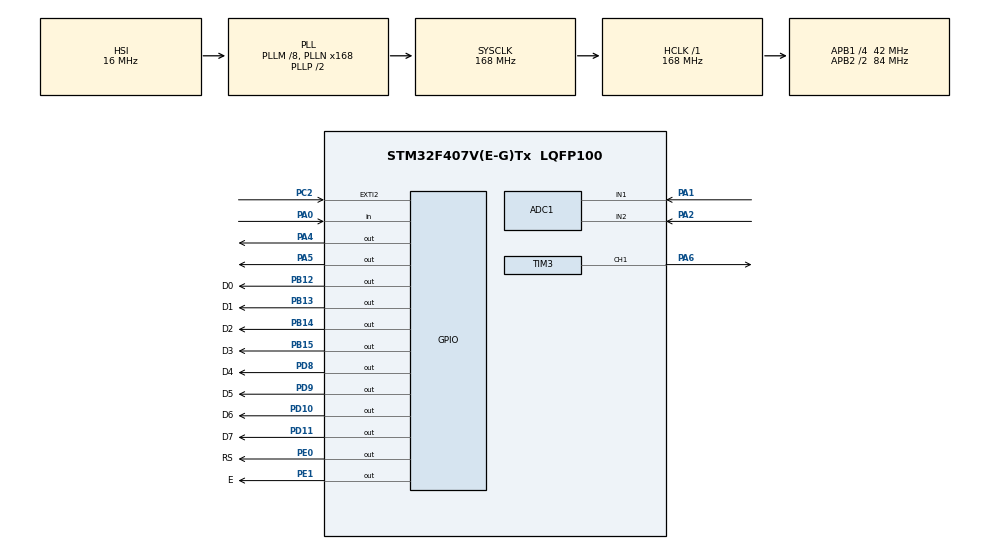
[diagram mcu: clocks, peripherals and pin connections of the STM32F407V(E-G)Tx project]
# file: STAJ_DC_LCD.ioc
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ADC1.Channel-0\#ChannelRegularConversion=ADC_CHANNEL_1
ADC1.NbrOfConversionFlag=1
ADC1.Rank-0\#ChannelRegularConversion=1
ADC1.SamplingTime-0\#ChannelRegularConversion=ADC_SAMPLETIME_84CYCLES
ADC1.master=1
Mcu.Family=STM32F4
Mcu.Name=STM32F407V(E-G)Tx
Mcu.Package=LQFP100
NVIC.ADC_IRQn=true\:0\:0\:false\:false\:true\:true
NVIC.EXTI2_IRQn=true\:0\:0\:false\:false\:true\:true
NVIC.PriorityGroup=NVIC_PRIORITYGROUP_4
PA0-WKUP.Signal=GPIO_Input
PA1.Signal=ADCx_IN1
PA2.Signal=ADCx_IN2
PA4.Signal=GPIO_Output
PA5.Signal=GPIO_Output
PA6.Signal=S_TIM3_CH1
PB12.GPIO_Label=D0
PB12.Signal=GPIO_Output
PB13.GPIO_Label=D1
PB13.Signal=GPIO_Output
PB14.GPIO_Label=D2
PB14.Signal=GPIO_Output
PB15.GPIO_Label=D3
PB15.Signal=GPIO_Output
PC2.Signal=GPXTI2
PD10.GPIO_Label=D6
PD10.Signal=GPIO_Output
PD11.GPIO_Label=D7
PD11.Signal=GPIO_Output
PD8.GPIO_Label=D4
PD8.Signal=GPIO_Output
PD9.GPIO_Label=D5
PD9.Signal=GPIO_Output
PE0.GPIO_Label=RS
PE0.Signal=GPIO_Output
PE1.GPIO_Label=E
PE1.Signal=GPIO_Output
ProjectManager.HeapSize=0x200
ProjectManager.StackSize=0x400
ProjectManager.TargetToolchain=MDK-ARM V5
RCC.48MHZClocksFreq_Value=84000000
RCC.AHBFreq_Value=168000000
RCC.APB1CLKDivider=RCC_HCLK_DIV4
RCC.APB1Freq_Value=42000000
RCC.APB1TimFreq_Value=84000000
RCC.APB2CLKDivider=RCC_HCLK_DIV2
RCC.APB2Freq_Value=84000000
RCC.APB2TimFreq_Value=168000000
RCC.CortexFreq_Value=168000000
RCC.HCLKFreq_Value=168000000
RCC.HSE_VALUE=25000000
RCC.HSI_VALUE=16000000
RCC.LSE_VALUE=32768
RCC.PLLM=8
RCC.PLLN=168
RCC.SYSCLKFreq_VALUE=168000000
RCC.SYSCLKSource=RCC_SYSCLKSOURCE_PLLCLK
RCC.VCOOutputFreq_Value=336000000
SH.ADCx_IN1.0=ADC1_IN1,IN1
SH.ADCx_IN2.0=ADC1_IN2,IN2
SH.S_TIM3_CH1.0=TIM3_CH1,PWM Generation1 CH1
TIM3.Channel-PWM\ Generation1\ CH1=TIM_CHANNEL_1
TIM3.Period=99
TIM3.Prescaler=15999
TIM3.Pulse-PWM\ Generation1\ CH1=100
board=custom

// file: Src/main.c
/* USER CODE BEGIN Header */
/**
  ******************************************************************************
  * @file           : main.c
  * @brief          : Main program body
  ******************************************************************************
  ** This notice applies to any and all portions of this file
  * that are not between comment pairs USER CODE BEGIN and
  * USER CODE END. Other portions of this file, whether
  * inserted by the user or by software development tools
  * are owned by their respective copyright owners.
  *
  * COPYRIGHT(c) 2019 STMicroelectronics
  *
  * Redistribution and use in source and binary forms, with or without modification,
  * are permitted provided that the following conditions are met:
  *   1. Redistributions of source code must retain the above copyright notice,
  *      this list of conditions and the following disclaimer.
  *   2. Redistributions in binary form must reproduce the above copyright notice,
  *      this list of conditions and the following disclaimer in the documentation
  *      and/or other materials provided with the distribution.
  *   3. Neither the name of STMicroelectronics nor the names of its contributors
  *      may be used to endorse or promote products derived from this software
  *      without specific prior written permission.
  *
  * THIS SOFTWARE IS PROVIDED BY THE COPYRIGHT HOLDERS AND CONTRIBUTORS "AS IS"
  * AND ANY EXPRESS OR IMPLIED WARRANTIES, INCLUDING, BUT NOT LIMITED TO, THE
  * IMPLIED WARRANTIES OF MERCHANTABILITY AND FITNESS FOR A PARTICULAR PURPOSE ARE
  * DISCLAIMED. IN NO EVENT SHALL THE COPYRIGHT HOLDER OR CONTRIBUTORS BE LIABLE
  * FOR ANY DIRECT, INDIRECT, INCIDENTAL, SPECIAL, EXEMPLARY, OR CONSEQUENTIAL
  * DAMAGES (INCLUDING, BUT NOT LIMITED TO, PROCUREMENT OF SUBSTITUTE GOODS OR
  * SERVICES; LOSS OF USE, DATA, OR PROFITS; OR BUSINESS INTERRUPTION) HOWEVER
  * CAUSED AND ON ANY THEORY OF LIABILITY, WHETHER IN CONTRACT, STRICT LIABILITY,
  * OR TORT (INCLUDING NEGLIGENCE OR OTHERWISE) ARISING IN ANY WAY OUT OF THE USE
  * OF THIS SOFTWARE, EVEN IF ADVISED OF THE POSSIBILITY OF SUCH DAMAGE.
  *
  ******************************************************************************
  */
/* USER CODE END Header */

#include "main.h"

/* USER CODE BEGIN Includes */
#include "STM_MY_LCD16X2.h"
/* USER CODE END Includes */

ADC_HandleTypeDef hadc1;

TIM_HandleTypeDef htim3;

void SystemClock_Config(void);
static void MX_GPIO_Init(void);
static void MX_TIM3_Init(void);
static void MX_ADC1_Init(void);

/* USER CODE BEGIN 0 */
uint16_t speed;
int counter;

void ileri(int s){
			TIM3->CCR1=s;
			HAL_GPIO_WritePin(GPIOA, GPIO_PIN_4, GPIO_PIN_SET);
			HAL_GPIO_WritePin(GPIOA, GPIO_PIN_5, GPIO_PIN_RESET);
}
void geri(int s){
			TIM3->CCR1=s;
			HAL_GPIO_WritePin(GPIOA, GPIO_PIN_4, GPIO_PIN_RESET);
			HAL_GPIO_WritePin(GPIOA, GPIO_PIN_5, GPIO_PIN_SET);
}

void dur(int s){
			TIM3->CCR1=s;
			HAL_GPIO_WritePin(GPIOA, GPIO_PIN_4 |GPIO_PIN_5, GPIO_PIN_RESET);
}

/* USER CODE END 0 */

int main(void)
{

  /* MCU Configuration--------------------------------------------------------*/

  /* Reset of all peripherals, Initializes the Flash interface and the Systick. */
  HAL_Init();

  /* Configure the system clock */
  SystemClock_Config();

  /* Initialize all configured peripherals */
  MX_GPIO_Init();
  MX_TIM3_Init();
  MX_ADC1_Init();
  /* USER CODE BEGIN 2 */
	HAL_TIM_PWM_Start(&htim3,	TIM_CHANNEL_1);
	HAL_ADC_Start_IT(&hadc1);
	LCD1602_Begin8BIT(RS_GPIO_Port, RS_Pin, E_Pin, D0_GPIO_Port, D0_Pin, D1_Pin,
                   	D2_Pin, D3_Pin, D4_GPIO_Port, D4_Pin,D5_Pin, D6_Pin, D7_Pin);

  /* USER CODE END 2 */

  /* Infinite loop */
  while (1)
  {

    /* USER CODE BEGIN 3 */
		LCD1602_1stLine();
	  LCD1602_print("mtr rpm = ");
		LCD1602_PrintInt(speed);
		LCD1602_print(" ");
		LCD1602_print("       PROJE II    ");

		HAL_Delay(500);
		LCD1602_2ndLine();

		if(counter%2==0 && speed>10){
			ileri(speed/5);

				LCD1602_print("ileri -->     ");
			  LCD1602_print("  Seyma K. ISBAK   ");

		}
		else if(counter%2==1 && speed>10){
			geri(speed/5);
			LCD1602_2ndLine();
			LCD1602_print(" <-- geri");

		}else if(speed<=10){
			dur(speed);
			LCD1602_2ndLine();
			LCD1602_print("  motor stop !! ");

		}

  }
  /* USER CODE END 3 */
}

void SystemClock_Config(void)
{
  RCC_OscInitTypeDef RCC_OscInitStruct = {0};
  RCC_ClkInitTypeDef RCC_ClkInitStruct = {0};

  /**Configure the main internal regulator output voltage
  */
  __HAL_RCC_PWR_CLK_ENABLE();
  __HAL_PWR_VOLTAGESCALING_CONFIG(PWR_REGULATOR_VOLTAGE_SCALE1);
  /**Initializes the CPU, AHB and APB busses clocks
  */
  RCC_OscInitStruct.OscillatorType = RCC_OSCILLATORTYPE_HSI;
  RCC_OscInitStruct.HSIState = RCC_HSI_ON;
  RCC_OscInitStruct.HSICalibrationValue = RCC_HSICALIBRATION_DEFAULT;
  RCC_OscInitStruct.PLL.PLLState = RCC_PLL_ON;
  RCC_OscInitStruct.PLL.PLLSource = RCC_PLLSOURCE_HSI;
  RCC_OscInitStruct.PLL.PLLM = 8;
  RCC_OscInitStruct.PLL.PLLN = 168;
  RCC_OscInitStruct.PLL.PLLP = RCC_PLLP_DIV2;
  RCC_OscInitStruct.PLL.PLLQ = 4;
  if (HAL_RCC_OscConfig(&RCC_OscInitStruct) != HAL_OK)
  {
    Error_Handler();
  }
  /**Initializes the CPU, AHB and APB busses clocks
  */
  RCC_ClkInitStruct.ClockType = RCC_CLOCKTYPE_HCLK|RCC_CLOCKTYPE_SYSCLK
                              |RCC_CLOCKTYPE_PCLK1|RCC_CLOCKTYPE_PCLK2;
  RCC_ClkInitStruct.SYSCLKSource = RCC_SYSCLKSOURCE_PLLCLK;
  RCC_ClkInitStruct.AHBCLKDivider = RCC_SYSCLK_DIV1;
  RCC_ClkInitStruct.APB1CLKDivider = RCC_HCLK_DIV4;
  RCC_ClkInitStruct.APB2CLKDivider = RCC_HCLK_DIV2;

  if (HAL_RCC_ClockConfig(&RCC_ClkInitStruct, FLASH_LATENCY_5) != HAL_OK)
  {
    Error_Handler();
  }
}

static void MX_ADC1_Init(void)
{

  ADC_ChannelConfTypeDef sConfig = {0};

  /**Configure the global features of the ADC (Clock, Resolution, Data Alignment and number of conversion)
  */
  hadc1.Instance = ADC1;
  hadc1.Init.ClockPrescaler = ADC_CLOCK_SYNC_PCLK_DIV4;
  hadc1.Init.Resolution = ADC_RESOLUTION_12B;
  hadc1.Init.ScanConvMode = DISABLE;
  hadc1.Init.ContinuousConvMode = DISABLE;
  hadc1.Init.DiscontinuousConvMode = DISABLE;
  hadc1.Init.ExternalTrigConvEdge = ADC_EXTERNALTRIGCONVEDGE_NONE;
  hadc1.Init.ExternalTrigConv = ADC_SOFTWARE_START;
  hadc1.Init.DataAlign = ADC_DATAALIGN_RIGHT;
  hadc1.Init.NbrOfConversion = 1;
  hadc1.Init.DMAContinuousRequests = DISABLE;
  hadc1.Init.EOCSelection = ADC_EOC_SINGLE_CONV;
  if (HAL_ADC_Init(&hadc1) != HAL_OK)
  {
    Error_Handler();
  }
  /**Configure for the selected ADC regular channel its corresponding rank in the sequencer and its sample time.
  */
  sConfig.Channel = ADC_CHANNEL_1;
  sConfig.Rank = 1;
  sConfig.SamplingTime = ADC_SAMPLETIME_84CYCLES;
  if (HAL_ADC_ConfigChannel(&hadc1, &sConfig) != HAL_OK)
  {
    Error_Handler();
  }

}

static void MX_TIM3_Init(void)
{

  TIM_MasterConfigTypeDef sMasterConfig = {0};
  TIM_OC_InitTypeDef sConfigOC = {0};

  htim3.Instance = TIM3;
  htim3.Init.Prescaler = 15999;
  htim3.Init.CounterMode = TIM_COUNTERMODE_UP;
  htim3.Init.Period = 99;
  htim3.Init.ClockDivision = TIM_CLOCKDIVISION_DIV1;
  if (HAL_TIM_PWM_Init(&htim3) != HAL_OK)
  {
    Error_Handler();
  }
  sMasterConfig.MasterOutputTrigger = TIM_TRGO_RESET;
  sMasterConfig.MasterSlaveMode = TIM_MASTERSLAVEMODE_DISABLE;
  if (HAL_TIMEx_MasterConfigSynchronization(&htim3, &sMasterConfig) != HAL_OK)
  {
    Error_Handler();
  }
  sConfigOC.OCMode = TIM_OCMODE_PWM1;
  sConfigOC.Pulse = 100;
  sConfigOC.OCPolarity = TIM_OCPOLARITY_HIGH;
  sConfigOC.OCFastMode = TIM_OCFAST_DISABLE;
  if (HAL_TIM_PWM_ConfigChannel(&htim3, &sConfigOC, TIM_CHANNEL_1) != HAL_OK)
  {
    Error_Handler();
  }
  HAL_TIM_MspPostInit(&htim3);

}

static void MX_GPIO_Init(void)
{
  GPIO_InitTypeDef GPIO_InitStruct = {0};

  /* GPIO Ports Clock Enable */
  __HAL_RCC_GPIOC_CLK_ENABLE();
  __HAL_RCC_GPIOA_CLK_ENABLE();
  __HAL_RCC_GPIOB_CLK_ENABLE();
  __HAL_RCC_GPIOD_CLK_ENABLE();
  __HAL_RCC_GPIOE_CLK_ENABLE();

  /*Configure GPIO pin Output Level */
  HAL_GPIO_WritePin(GPIOA, GPIO_PIN_4|GPIO_PIN_5, GPIO_PIN_RESET);

  /*Configure GPIO pin Output Level */
  HAL_GPIO_WritePin(GPIOB, D0_Pin|D1_Pin|D2_Pin|D3_Pin, GPIO_PIN_RESET);

  /*Configure GPIO pin Output Level */
  HAL_GPIO_WritePin(GPIOD, D4_Pin|D5_Pin|D6_Pin|D7_Pin, GPIO_PIN_RESET);

  /*Configure GPIO pin Output Level */
  HAL_GPIO_WritePin(GPIOE, RS_Pin|E_Pin, GPIO_PIN_RESET);

  /*Configure GPIO pin : PC2 */
  GPIO_InitStruct.Pin = GPIO_PIN_2;
  GPIO_InitStruct.Mode = GPIO_MODE_IT_RISING;
  GPIO_InitStruct.Pull = GPIO_NOPULL;
  HAL_GPIO_Init(GPIOC, &GPIO_InitStruct);

  /*Configure GPIO pin : PA0 */
  GPIO_InitStruct.Pin = GPIO_PIN_0;
  GPIO_InitStruct.Mode = GPIO_MODE_INPUT;
  GPIO_InitStruct.Pull = GPIO_NOPULL;
  HAL_GPIO_Init(GPIOA, &GPIO_InitStruct);

  /*Configure GPIO pins : PA4 PA5 */
  GPIO_InitStruct.Pin = GPIO_PIN_4|GPIO_PIN_5;
  GPIO_InitStruct.Mode = GPIO_MODE_OUTPUT_PP;
  GPIO_InitStruct.Pull = GPIO_NOPULL;
  GPIO_InitStruct.Speed = GPIO_SPEED_FREQ_LOW;
  HAL_GPIO_Init(GPIOA, &GPIO_InitStruct);

  /*Configure GPIO pins : D0_Pin D1_Pin D2_Pin D3_Pin */
  GPIO_InitStruct.Pin = D0_Pin|D1_Pin|D2_Pin|D3_Pin;
  GPIO_InitStruct.Mode = GPIO_MODE_OUTPUT_PP;
  GPIO_InitStruct.Pull = GPIO_NOPULL;
  GPIO_InitStruct.Speed = GPIO_SPEED_FREQ_LOW;
  HAL_GPIO_Init(GPIOB, &GPIO_InitStruct);

  /*Configure GPIO pins : D4_Pin D5_Pin D6_Pin D7_Pin */
  GPIO_InitStruct.Pin = D4_Pin|D5_Pin|D6_Pin|D7_Pin;
  GPIO_InitStruct.Mode = GPIO_MODE_OUTPUT_PP;
  GPIO_InitStruct.Pull = GPIO_NOPULL;
  GPIO_InitStruct.Speed = GPIO_SPEED_FREQ_LOW;
  HAL_GPIO_Init(GPIOD, &GPIO_InitStruct);

  /*Configure GPIO pins : RS_Pin E_Pin */
  GPIO_InitStruct.Pin = RS_Pin|E_Pin;
  GPIO_InitStruct.Mode = GPIO_MODE_OUTPUT_PP;
  GPIO_InitStruct.Pull = GPIO_NOPULL;
  GPIO_InitStruct.Speed = GPIO_SPEED_FREQ_LOW;
  HAL_GPIO_Init(GPIOE, &GPIO_InitStruct);

  /* EXTI interrupt init*/
  HAL_NVIC_SetPriority(EXTI2_IRQn, 0, 0);
  HAL_NVIC_EnableIRQ(EXTI2_IRQn);

}

void Error_Handler(void)
{
}

/************************ (C) COPYRIGHT STMicroelectronics *****END OF FILE****/
